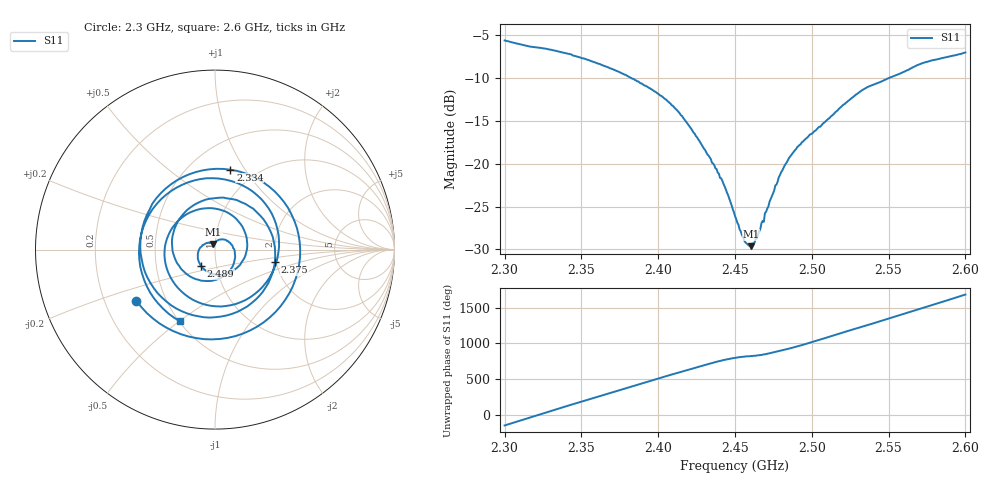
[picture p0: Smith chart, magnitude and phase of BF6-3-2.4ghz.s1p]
! NanoVNA-App
! Date: 2026-06-16 00:33:56
! Start: 2.3GHz Stop: 2.6GHz Points: 401
! S-Parameter data: F S11
# Hz S RI R 50
!  Frequency  S11_Real  S11_Imag
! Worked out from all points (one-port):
!   401 points, 2.3 GHz to 2.6 GHz, reference 50 ohm
!   lowest |S11| = -29.6 dB at 2.461 GHz (marker M1), VSWR 1.07, Z = 49.1 + j3.14 ohm
!   |S11| at or under -10 dB: 2.382 GHz to 2.551 GHz (168.2 MHz wide, 6.82 % of centre)
!   S11 on the Smith chart (normalised r, x): 2.3 GHz: 0.34, -0.26; 2.334 GHz: 0.77, +0.86; 2.375 GHz: 1.97, -0.31; 2.489 GHz: 0.84, -0.16; 2.6 GHz: 0.51, -0.50
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2.3e9  -0.4387 -0.2837
2.30975e9  0.0711 -0.4917
2.3195e9  0.4594 -0.1291
2.3255e9  0.4271 0.1943
2.33375e9  0.0861 0.4451
2.3375e9  -0.1083 0.4317
2.348e9  -0.415 0.0533
2.35925e9  -0.1573 -0.3546
2.366e9  0.1248 -0.3467
2.375e9  0.334 -0.0697
2.39075e9  -0.00243 0.2864
2.40125e9  -0.2314 0.0942
2.4125e9  -0.1372 -0.1506
2.429e9  0.1081 -0.0633
2.45e9  0.0093 0.0486
2.4605e9  -0.00844 0.0319
2.4875e9  -0.0868 -0.0754
2.489e9  -0.0775 -0.0911
2.50025e9  0.0737 -0.1304
2.51075e9  0.1798 0.0311
2.525e9  -0.0588 0.2295
2.54e9  -0.2692 -0.1034
2.55125e9  0.0356 -0.3169
2.5625e9  0.3481 -0.0461
2.57e9  0.2798 0.2558
2.579e9  -0.0811 0.3929
2.5895e9  -0.4175 0.0559
2.6e9  -0.1944 -0.3998
